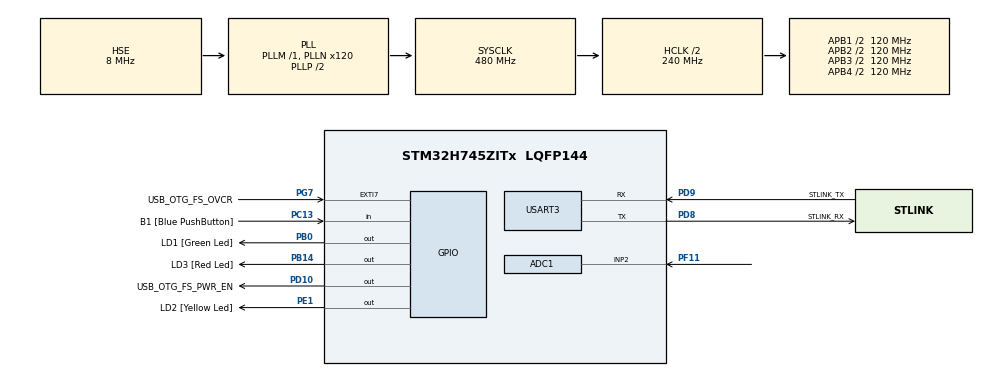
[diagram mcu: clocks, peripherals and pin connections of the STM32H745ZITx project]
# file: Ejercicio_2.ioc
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ADC1.Channel-3\#ChannelRegularConversion=ADC_CHANNEL_2
ADC1.ClockPrescaler=ADC_CLOCK_ASYNC_DIV256
ADC1.ContinuousConvMode=ENABLE
ADC1.ConversionDataManagement=ADC_CONVERSIONDATA_DMA_CIRCULAR
ADC1.EOCSelection=ADC_EOC_SEQ_CONV
ADC1.NbrOfConversionFlag=1
ADC1.OffsetNumber-3\#ChannelRegularConversion=ADC_OFFSET_NONE
ADC1.OffsetSignedSaturation-3\#ChannelRegularConversion=DISABLE
ADC1.Overrun=ADC_OVR_DATA_OVERWRITTEN
ADC1.Rank-3\#ChannelRegularConversion=1
ADC1.Resolution=ADC_RESOLUTION_8B
ADC1.SamplingTime-3\#ChannelRegularConversion=ADC_SAMPLETIME_1CYCLE_5
ADC1.master=1
CortexM4.IPs=FATFS_M4\:I,FREERTOS_M4\:I,IWDG2\:I,RCC,WWDG2\:I,DMA,BDMA,MDMA,NVIC2\:I,DEBUG,USB_DEVICE_M4\:I,USB_HOST_M4\:I,PDM2PCM_M4\:I,PWR,RESMGR_UTILITY,SYS_M4\:I,CORTEX_M4\:I,OPENAMP_M4\:I,VREFBUF,GPIO
CortexM7.IPs=FATFS_M7\:I,FREERTOS_M7\:I,IWDG1\:I,RCC\:I,WWDG1\:I,DMA\:I,BDMA\:I,MDMA\:I,NVIC1\:I,SYS\:I,USART3\:I,CORTEX_M7\:I,DEBUG\:I,USB_DEVICE_M7\:I,USB_HOST_M7\:I,PDM2PCM_M7\:I,PWR\:I,RESMGR_UTILITY\:I,OPENAMP_M7\:I,VREFBUF\:I,GPIO\:I,ADC1\:I,TIM2\:I
Dma.ADC1.0.Direction=DMA_PERIPH_TO_MEMORY
Dma.ADC1.0.EventEnable=DISABLE
Dma.ADC1.0.FIFOMode=DMA_FIFOMODE_DISABLE
Dma.ADC1.0.Instance=DMA1_Stream0
Dma.ADC1.0.MemDataAlignment=DMA_MDATAALIGN_HALFWORD
Dma.ADC1.0.MemInc=DMA_MINC_ENABLE
Dma.ADC1.0.Mode=DMA_CIRCULAR
Dma.ADC1.0.PeriphDataAlignment=DMA_PDATAALIGN_HALFWORD
Dma.ADC1.0.PeriphInc=DMA_PINC_DISABLE
Dma.ADC1.0.Polarity=HAL_DMAMUX_REQ_GEN_RISING
Dma.ADC1.0.Priority=DMA_PRIORITY_LOW
Dma.ADC1.0.RequestNumber=1
Dma.ADC1.0.SignalID=NONE
Dma.ADC1.0.SyncEnable=DISABLE
Dma.ADC1.0.SyncPolarity=HAL_DMAMUX_SYNC_NO_EVENT
Dma.ADC1.0.SyncRequestNumber=1
Dma.ADC1.0.SyncSignalID=NONE
Dma.Request0=ADC1
Mcu.Family=STM32H7
Mcu.Name=STM32H745ZITx
Mcu.Package=LQFP144
NVIC1.DMA1_Stream0_IRQn=true\:0\:0\:false\:false\:true\:false\:true\:true
NVIC1.PriorityGroup=NVIC_PRIORITYGROUP_4
NVIC1.TIM2_IRQn=true\:0\:0\:false\:false\:true\:true\:true\:true
NVIC2.PriorityGroup=NVIC_PRIORITYGROUP_4
PA0.PinAttribute=CortexM7
PA0.Signal=ADC1_INP16
PA1.PinAttribute=CortexM7
PA1.Signal=ETH_REF_CLK
PA11.PinAttribute=CortexM7
PA11.Signal=USB_OTG_FS_DM
PA12.PinAttribute=CortexM7
PA12.Signal=USB_OTG_FS_DP
PA2.PinAttribute=CortexM7
PA2.Signal=ETH_MDIO
PA7.PinAttribute=CortexM7
PA7.Signal=ETH_CRS_DV
PA8.PinAttribute=CortexM7
PA8.Signal=USB_OTG_FS_SOF
PA9.PinAttribute=CortexM7
PA9.Signal=USB_OTG_FS_VBUS
PB0.GPIO_Label=LD1 [Green Led]
PB0.PinAttribute=Free
PB0.Signal=GPIO_Output
PB13.PinAttribute=CortexM7
PB13.Signal=ETH_TXD1
PB14.GPIO_Label=LD3 [Red Led]
PB14.PinAttribute=Free
PB14.Signal=GPIO_Output
PC1.PinAttribute=CortexM7
PC1.Signal=ETH_MDC
PC13.GPIO_Label=B1 [Blue PushButton]
PC13.PinAttribute=Free
PC13.Signal=GPIO_Input
PC14-OSC32_IN\ (OSC32_IN).Mode=LSE-External-Oscillator
PC14-OSC32_IN\ (OSC32_IN).PinAttribute=CortexM7
PC14-OSC32_IN\ (OSC32_IN).Signal=RCC_OSC32_IN
PC15-OSC32_OUT\ (OSC32_OUT).Mode=LSE-External-Oscillator
PC15-OSC32_OUT\ (OSC32_OUT).PinAttribute=CortexM7
PC15-OSC32_OUT\ (OSC32_OUT).Signal=RCC_OSC32_OUT
PC4.PinAttribute=CortexM7
PC4.Signal=ETH_RXD0
PC5.PinAttribute=CortexM7
PC5.Signal=ETH_RXD1
PD10.GPIO_Label=USB_OTG_FS_PWR_EN
PD10.PinAttribute=Free
PD10.Signal=GPIO_Output
PD8.GPIO_Label=STLINK_RX
PD8.Mode=Asynchronous
PD8.PinAttribute=CortexM7
PD8.Signal=USART3_TX
PD9.GPIO_Label=STLINK_TX
PD9.Mode=Asynchronous
PD9.PinAttribute=CortexM7
PD9.Signal=USART3_RX
PE1.GPIO_Label=LD2 [Yellow Led]
PE1.PinAttribute=Free
PE1.Signal=GPIO_Output
PF11.PinAttribute=CortexM7
PF11.Signal=SharedAnalog_PF11
PG11.PinAttribute=CortexM7
PG11.Signal=ETH_TX_EN
PG13.PinAttribute=CortexM7
PG13.Signal=ETH_TXD0
PG7.GPIO_Label=USB_OTG_FS_OVCR
PG7.PinAttribute=Free
PG7.Signal=GPXTI7
PH0-OSC_IN\ (PH0).Mode=HSE-External-Clock-Source
PH0-OSC_IN\ (PH0).PinAttribute=CortexM7
PH0-OSC_IN\ (PH0).Signal=RCC_OSC_IN
PH1-OSC_OUT\ (PH1).PinAttribute=CortexM7
PH1-OSC_OUT\ (PH1).Signal=RCC_OSC_OUT
ProjectManager.HeapSize=M4-0x200,M7-0x200
ProjectManager.StackSize=M4-0x400,M7-0x400
ProjectManager.TargetToolchain=STM32CubeIDE
RCC.ADCFreq_Value=76000000
RCC.APB1Freq_Value=120000000
RCC.APB2Freq_Value=120000000
RCC.APB3Freq_Value=120000000
RCC.APB4Freq_Value=120000000
RCC.CortexFreq_Value=480000000
RCC.D1PPRE=RCC_APB3_DIV2
RCC.D2PPRE1=RCC_APB1_DIV2
RCC.D2PPRE2=RCC_APB2_DIV2
RCC.D3PPRE=RCC_APB4_DIV2
RCC.DIVM1=1
RCC.DIVM2=1
RCC.DIVM3=1
RCC.DIVN1=120
RCC.DIVN2=19
RCC.DIVN3=24
RCC.DIVQ3=4
RCC.HCLKFreq_Value=240000000
RCC.HPRE=RCC_HCLK_DIV2
RCC.HSE_VALUE=8000000
RCC.PLL2FRACN=0
RCC.PLL3FRACN=0
RCC.PLLFRACN=0
RCC.PLLSourceVirtual=RCC_PLLSOURCE_HSE
RCC.SYSCLKFreq_VALUE=480000000
RCC.SYSCLKSource=RCC_SYSCLKSOURCE_PLLCLK
RCC.SupplySource=PWR_DIRECT_SMPS_SUPPLY
RCC.USBCLockSelection=RCC_USBCLKSOURCE_PLL3
RCC.USBFreq_Value=48000000
SH.SharedAnalog_PF11.0=GPIO_Analog
SH.SharedAnalog_PF11.1=ADC1_INP2,IN2-Single-Ended
TIM2.Period=366
TIM2.Prescaler=65535
USART3.VirtualMode-Asynchronous=VM_ASYNC
VP_SYS_M4_VS_Systick.Mode=SysTick
VP_TIM2_VS_ClockSourceINT.Mode=Internal
board=NUCLEO-H745ZI-Q

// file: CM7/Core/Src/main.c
/* USER CODE BEGIN Header */
/**
  ******************************************************************************
  * @file           : main.c
  * @brief          : Main program body
  ******************************************************************************
  * @attention
  *
  * Copyright (c) 2022 STMicroelectronics.
  * All rights reserved.
  *
  * This software is licensed under terms that can be found in the LICENSE file
  * in the root directory of this software component.
  * If no LICENSE file comes with this software, it is provided AS-IS.
  *
  ******************************************************************************
  */
/* USER CODE END Header */
#include "main.h"

/* USER CODE BEGIN PD */

#ifndef HSEM_ID_0
#define HSEM_ID_0 (0U) /* HW semaphore 0*/
#endif
/* USER CODE END PD */

ADC_HandleTypeDef hadc1;
DMA_HandleTypeDef hdma_adc1;

TIM_HandleTypeDef htim2;

UART_HandleTypeDef huart3;

/* USER CODE BEGIN PV */
// Variables UART
char uart_buf[50];
uint16_t uart_buf_len;

volatile uint16_t adc_read[50];
float adc_voltage[50];

/* USER CODE END PV */

void SystemClock_Config(void);
static void MX_GPIO_Init(void);
static void MX_USART3_UART_Init(void);
static void MX_ADC1_Init(void);
static void MX_DMA_Init(void);
static void MX_TIM2_Init(void);
/* USER CODE BEGIN PFP */
static void printUART_int(char *string, int var);
static void printUART_float(char *string, float var);

/* USER CODE END PFP */

int main(void)
{
/* USER CODE BEGIN Boot_Mode_Sequence_0 */
  int32_t timeout;
/* USER CODE END Boot_Mode_Sequence_0 */

/* USER CODE BEGIN Boot_Mode_Sequence_1 */
  /* Wait until CPU2 boots and enters in stop mode or timeout*/
  timeout = 0xFFFF;
  while((__HAL_RCC_GET_FLAG(RCC_FLAG_D2CKRDY) != RESET) && (timeout-- > 0));
  if ( timeout < 0 )
  {
  Error_Handler();
  }
/* USER CODE END Boot_Mode_Sequence_1 */
  /* MCU Configuration--------------------------------------------------------*/

  /* Reset of all peripherals, Initializes the Flash interface and the Systick. */
  HAL_Init();

  /* Configure the system clock */
  SystemClock_Config();
/* USER CODE BEGIN Boot_Mode_Sequence_2 */
/* When system initialization is finished, Cortex-M7 will release Cortex-M4 by means of
HSEM notification */
/*HW semaphore Clock enable*/
__HAL_RCC_HSEM_CLK_ENABLE();
/*Take HSEM */
HAL_HSEM_FastTake(HSEM_ID_0);
/*Release HSEM in order to notify the CPU2(CM4)*/
HAL_HSEM_Release(HSEM_ID_0,0);
/* wait until CPU2 wakes up from stop mode */
timeout = 0xFFFF;
while((__HAL_RCC_GET_FLAG(RCC_FLAG_D2CKRDY) == RESET) && (timeout-- > 0));
if ( timeout < 0 )
{
Error_Handler();
}
/* USER CODE END Boot_Mode_Sequence_2 */

  /* Initialize all configured peripherals */
  MX_GPIO_Init();
  MX_USART3_UART_Init();
  MX_ADC1_Init();
  MX_DMA_Init();
  MX_TIM2_Init();
  /* USER CODE BEGIN 2 */
  HAL_ADC_Start_DMA(&hadc1, (uint32_t*)&adc_read[0], 1);

  HAL_TIM_Base_Start_IT(&htim2);

  /* USER CODE END 2 */

  /* Infinite loop */
  while (1)
  {

  }
}

void SystemClock_Config(void)
{
  RCC_OscInitTypeDef RCC_OscInitStruct = {0};
  RCC_ClkInitTypeDef RCC_ClkInitStruct = {0};

  /** Supply configuration update enable
  */
  HAL_PWREx_ConfigSupply(PWR_DIRECT_SMPS_SUPPLY);

  /** Configure the main internal regulator output voltage
  */
  __HAL_PWR_VOLTAGESCALING_CONFIG(PWR_REGULATOR_VOLTAGE_SCALE0);

  while(!__HAL_PWR_GET_FLAG(PWR_FLAG_VOSRDY)) {}

  /** Macro to configure the PLL clock source
  */
  __HAL_RCC_PLL_PLLSOURCE_CONFIG(RCC_PLLSOURCE_HSE);

  /** Initializes the RCC Oscillators according to the specified parameters
  * in the RCC_OscInitTypeDef structure.
  */
  RCC_OscInitStruct.OscillatorType = RCC_OSCILLATORTYPE_HSE;
  RCC_OscInitStruct.HSEState = RCC_HSE_BYPASS;
  RCC_OscInitStruct.PLL.PLLState = RCC_PLL_ON;
  RCC_OscInitStruct.PLL.PLLSource = RCC_PLLSOURCE_HSE;
  RCC_OscInitStruct.PLL.PLLM = 1;
  RCC_OscInitStruct.PLL.PLLN = 120;
  RCC_OscInitStruct.PLL.PLLP = 2;
  RCC_OscInitStruct.PLL.PLLQ = 2;
  RCC_OscInitStruct.PLL.PLLR = 2;
  RCC_OscInitStruct.PLL.PLLRGE = RCC_PLL1VCIRANGE_3;
  RCC_OscInitStruct.PLL.PLLVCOSEL = RCC_PLL1VCOWIDE;
  RCC_OscInitStruct.PLL.PLLFRACN = 0;
  if (HAL_RCC_OscConfig(&RCC_OscInitStruct) != HAL_OK)
  {
    Error_Handler();
  }

  /** Initializes the CPU, AHB and APB buses clocks
  */
  RCC_ClkInitStruct.ClockType = RCC_CLOCKTYPE_HCLK|RCC_CLOCKTYPE_SYSCLK
                              |RCC_CLOCKTYPE_PCLK1|RCC_CLOCKTYPE_PCLK2
                              |RCC_CLOCKTYPE_D3PCLK1|RCC_CLOCKTYPE_D1PCLK1;
  RCC_ClkInitStruct.SYSCLKSource = RCC_SYSCLKSOURCE_PLLCLK;
  RCC_ClkInitStruct.SYSCLKDivider = RCC_SYSCLK_DIV1;
  RCC_ClkInitStruct.AHBCLKDivider = RCC_HCLK_DIV2;
  RCC_ClkInitStruct.APB3CLKDivider = RCC_APB3_DIV2;
  RCC_ClkInitStruct.APB1CLKDivider = RCC_APB1_DIV2;
  RCC_ClkInitStruct.APB2CLKDivider = RCC_APB2_DIV2;
  RCC_ClkInitStruct.APB4CLKDivider = RCC_APB4_DIV2;

  if (HAL_RCC_ClockConfig(&RCC_ClkInitStruct, FLASH_LATENCY_4) != HAL_OK)
  {
    Error_Handler();
  }
}

static void MX_ADC1_Init(void)
{

  ADC_MultiModeTypeDef multimode = {0};
  ADC_ChannelConfTypeDef sConfig = {0};

  /** Common config
  */
  hadc1.Instance = ADC1;
  hadc1.Init.ClockPrescaler = ADC_CLOCK_ASYNC_DIV256;
  hadc1.Init.Resolution = ADC_RESOLUTION_8B;
  hadc1.Init.ScanConvMode = ADC_SCAN_DISABLE;
  hadc1.Init.EOCSelection = ADC_EOC_SEQ_CONV;
  hadc1.Init.LowPowerAutoWait = DISABLE;
  hadc1.Init.ContinuousConvMode = ENABLE;
  hadc1.Init.NbrOfConversion = 1;
  hadc1.Init.DiscontinuousConvMode = DISABLE;
  hadc1.Init.ExternalTrigConv = ADC_SOFTWARE_START;
  hadc1.Init.ExternalTrigConvEdge = ADC_EXTERNALTRIGCONVEDGE_NONE;
  hadc1.Init.ConversionDataManagement = ADC_CONVERSIONDATA_DMA_CIRCULAR;
  hadc1.Init.Overrun = ADC_OVR_DATA_OVERWRITTEN;
  hadc1.Init.LeftBitShift = ADC_LEFTBITSHIFT_NONE;
  hadc1.Init.OversamplingMode = DISABLE;
  if (HAL_ADC_Init(&hadc1) != HAL_OK)
  {
    Error_Handler();
  }

  /** Configure the ADC multi-mode
  */
  multimode.Mode = ADC_MODE_INDEPENDENT;
  if (HAL_ADCEx_MultiModeConfigChannel(&hadc1, &multimode) != HAL_OK)
  {
    Error_Handler();
  }

  /** Configure Regular Channel
  */
  sConfig.Channel = ADC_CHANNEL_2;
  sConfig.Rank = ADC_REGULAR_RANK_1;
  sConfig.SamplingTime = ADC_SAMPLETIME_1CYCLE_5;
  sConfig.SingleDiff = ADC_SINGLE_ENDED;
  sConfig.OffsetNumber = ADC_OFFSET_NONE;
  sConfig.Offset = 0;
  sConfig.OffsetSignedSaturation = DISABLE;
  if (HAL_ADC_ConfigChannel(&hadc1, &sConfig) != HAL_OK)
  {
    Error_Handler();
  }

}

static void MX_TIM2_Init(void)
{

  TIM_ClockConfigTypeDef sClockSourceConfig = {0};
  TIM_MasterConfigTypeDef sMasterConfig = {0};

  htim2.Instance = TIM2;
  htim2.Init.Prescaler = 65535;
  htim2.Init.CounterMode = TIM_COUNTERMODE_UP;
  htim2.Init.Period = 366;
  htim2.Init.ClockDivision = TIM_CLOCKDIVISION_DIV1;
  htim2.Init.AutoReloadPreload = TIM_AUTORELOAD_PRELOAD_DISABLE;
  if (HAL_TIM_Base_Init(&htim2) != HAL_OK)
  {
    Error_Handler();
  }
  sClockSourceConfig.ClockSource = TIM_CLOCKSOURCE_INTERNAL;
  if (HAL_TIM_ConfigClockSource(&htim2, &sClockSourceConfig) != HAL_OK)
  {
    Error_Handler();
  }
  sMasterConfig.MasterOutputTrigger = TIM_TRGO_RESET;
  sMasterConfig.MasterSlaveMode = TIM_MASTERSLAVEMODE_DISABLE;
  if (HAL_TIMEx_MasterConfigSynchronization(&htim2, &sMasterConfig) != HAL_OK)
  {
    Error_Handler();
  }

}

static void MX_USART3_UART_Init(void)
{

  huart3.Instance = USART3;
  huart3.Init.BaudRate = 115200;
  huart3.Init.WordLength = UART_WORDLENGTH_8B;
  huart3.Init.StopBits = UART_STOPBITS_1;
  huart3.Init.Parity = UART_PARITY_NONE;
  huart3.Init.Mode = UART_MODE_TX_RX;
  huart3.Init.HwFlowCtl = UART_HWCONTROL_NONE;
  huart3.Init.OverSampling = UART_OVERSAMPLING_16;
  huart3.Init.OneBitSampling = UART_ONE_BIT_SAMPLE_DISABLE;
  huart3.Init.ClockPrescaler = UART_PRESCALER_DIV1;
  huart3.AdvancedInit.AdvFeatureInit = UART_ADVFEATURE_NO_INIT;
  if (HAL_UART_Init(&huart3) != HAL_OK)
  {
    Error_Handler();
  }
  if (HAL_UARTEx_SetTxFifoThreshold(&huart3, UART_TXFIFO_THRESHOLD_1_8) != HAL_OK)
  {
    Error_Handler();
  }
  if (HAL_UARTEx_SetRxFifoThreshold(&huart3, UART_RXFIFO_THRESHOLD_1_8) != HAL_OK)
  {
    Error_Handler();
  }
  if (HAL_UARTEx_DisableFifoMode(&huart3) != HAL_OK)
  {
    Error_Handler();
  }

}

static void MX_DMA_Init(void)
{

  /* DMA controller clock enable */
  __HAL_RCC_DMA1_CLK_ENABLE();

  /* DMA interrupt init */
  /* DMA1_Stream0_IRQn interrupt configuration */
  HAL_NVIC_SetPriority(DMA1_Stream0_IRQn, 0, 0);
  HAL_NVIC_EnableIRQ(DMA1_Stream0_IRQn);

}

static void MX_GPIO_Init(void)
{

  /* GPIO Ports Clock Enable */
  __HAL_RCC_GPIOC_CLK_ENABLE();
  __HAL_RCC_GPIOH_CLK_ENABLE();
  __HAL_RCC_GPIOA_CLK_ENABLE();
  __HAL_RCC_GPIOF_CLK_ENABLE();
  __HAL_RCC_GPIOD_CLK_ENABLE();

}

/* USER CODE BEGIN 4 */

void HAL_ADC_ConvCpltCallback(ADC_HandleTypeDef *hadc){
	HAL_ADC_Stop_DMA(&hadc1);
	HAL_ADC_Start_DMA(&hadc1, (uint32_t*)&adc_read[0], 1);

}

void HAL_TIM_PeriodElapsedCallback(TIM_HandleTypeDef *htim){
	if(htim == &htim2){
		adc_voltage[0] = ((float)adc_read[0]*3.3)/255.0;
		printUART_int("Valor ADC: %u \r\n", adc_read[0]);
		printUART_float("Voltaje ADC: %.3f \r\n", adc_voltage[0]);
	}
}

static void printUART_int(char *string, int var){
	uart_buf_len = sprintf(uart_buf, string, var);
	HAL_UART_Transmit(&huart3, (uint8_t *)uart_buf, uart_buf_len, 100);
}

static void printUART_float(char *string, float var){
	uart_buf_len = sprintf(uart_buf, string, var);
	HAL_UART_Transmit(&huart3, (uint8_t *)uart_buf, uart_buf_len, 100);
}
/* USER CODE END 4 */

void Error_Handler(void)
{
  __disable_irq();
  while (1)
  {
  }
}
